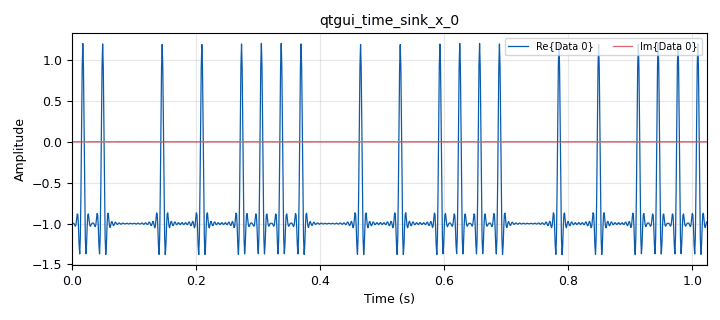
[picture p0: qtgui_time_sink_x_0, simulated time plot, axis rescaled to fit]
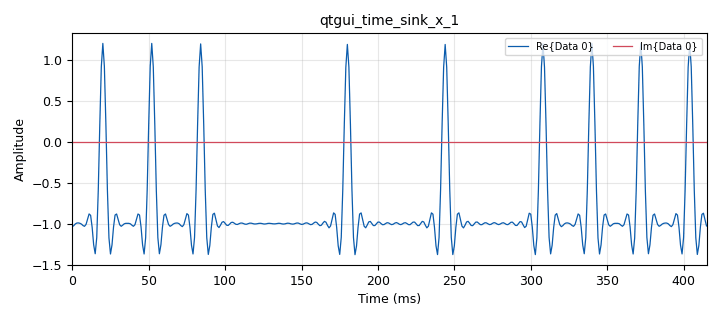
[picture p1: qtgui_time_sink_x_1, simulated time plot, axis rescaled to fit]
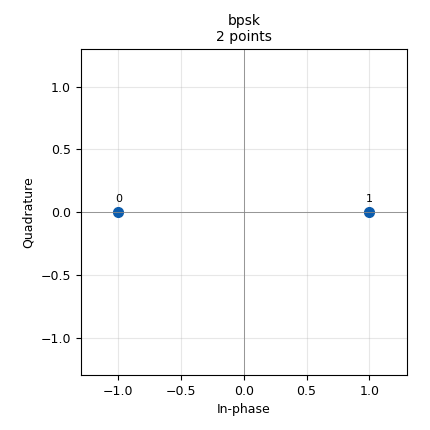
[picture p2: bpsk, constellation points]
<?xml version='1.0' encoding='utf-8'?>
<?grc format='1' created='3.7.9'?>
<flow_graph>
<block>
<key>options</key>
<param><key>id</key><value>top_block</value></param>
<param><key>category</key><value>Custom</value></param>
<param><key>generate_options</key><value>qt_gui</value></param>
</block>
<block>
<key>variable</key>
<param><key>id</key><value>samp_rate</value></param>
<param><key>value</key><value>1000</value></param>
</block>
<block>
<key>variable_constellation</key>
<param><key>id</key><value>variable_bpsk</value></param>
<param><key>const_points</key><value>[-1,1]</value></param>
<param><key>dims</key><value>1</value></param>
<param><key>rot_sym</key><value>4</value></param>
<param><key>precision</key><value>8</value></param>
<param><key>sym_map</key><value>[0,1]</value></param>
</block>
<block>
<key>blocks_file_sink</key>
<param><key>id</key><value>blocks_file_sink_0</value></param>
<param><key>file</key><value>/home/zysps1/Software_files/FIles/output_data</value></param>
<param><key>type</key><value>complex</value></param>
</block>
<block>
<key>blocks_throttle</key>
<param><key>id</key><value>blocks_throttle_0</value></param>
<param><key>samples_per_second</key><value>samp_rate</value></param>
<param><key>type</key><value>complex</value></param>
</block>
<block>
<key>blocks_vector_source_x</key>
<param><key>id</key><value>blocks_vector_source_x_0</value></param>
<param><key>type</key><value>byte</value></param>
<param><key>repeat</key><value>True</value></param>
<param><key>vector</key><value>(0, 1, 0, 1, 1, 1, 1, 0, 0,1)</value></param>
</block>
<block>
<key>digital_constellation_modulator</key>
<param><key>id</key><value>bpsk</value></param>
<param><key>constellation</key><value>variable_bpsk</value></param>
<param><key>differential</key><value>False</value></param>
<param><key>excess_bw</key><value>0.35</value></param>
<param><key>samples_per_symbol</key><value>4</value></param>
</block>
<block>
<key>channels_channel_model</key>
<param><key>id</key><value>channels_channel_model_0</value></param>
<param><key>epsilon</key><value>1.0</value></param>
<param><key>freq_offset</key><value>0.0</value></param>
<param><key>noise_voltage</key><value>0.0005</value></param>
<param><key>seed</key><value>0</value></param>
<param><key>taps</key><value>1</value></param>
</block>
<block>
<key>qtgui_time_sink_x</key>
<param><key>id</key><value>qtgui_time_sink_x_0</value></param>
<param><key>color1</key><value>"blue"</value></param>
<param><key>label1</key><value></value></param>
<param><key>color2</key><value>"red"</value></param>
<param><key>label2</key><value></value></param>
<param><key>size</key><value>1024</value></param>
<param><key>srate</key><value>samp_rate</value></param>
<param><key>type</key><value>complex</value></param>
<param><key>update_time</key><value>10</value></param>
</block>
<block>
<key>qtgui_time_sink_x</key>
<param><key>id</key><value>qtgui_time_sink_x_1</value></param>
<param><key>color1</key><value>"blue"</value></param>
<param><key>label1</key><value></value></param>
<param><key>color2</key><value>"red"</value></param>
<param><key>label2</key><value></value></param>
<param><key>size</key><value>416</value></param>
<param><key>srate</key><value>samp_rate</value></param>
<param><key>type</key><value>complex</value></param>
</block>
<connection><source_block_id>blocks_throttle_0</source_block_id><sink_block_id>channels_channel_model_0</sink_block_id><source_key>0</source_key><sink_key>0</sink_key></connection>
<connection><source_block_id>blocks_vector_source_x_0</source_block_id><sink_block_id>bpsk</sink_block_id><source_key>0</source_key><sink_key>0</sink_key></connection>
<connection><source_block_id>bpsk</source_block_id><sink_block_id>blocks_throttle_0</sink_block_id><source_key>0</source_key><sink_key>0</sink_key></connection>
<connection><source_block_id>bpsk</source_block_id><sink_block_id>qtgui_time_sink_x_1</sink_block_id><source_key>0</source_key><sink_key>0</sink_key></connection>
<connection><source_block_id>channels_channel_model_0</source_block_id><sink_block_id>blocks_file_sink_0</sink_block_id><source_key>0</source_key><sink_key>0</sink_key></connection>
<connection><source_block_id>channels_channel_model_0</source_block_id><sink_block_id>qtgui_time_sink_x_0</sink_block_id><source_key>0</source_key><sink_key>0</sink_key></connection>
</flow_graph>
